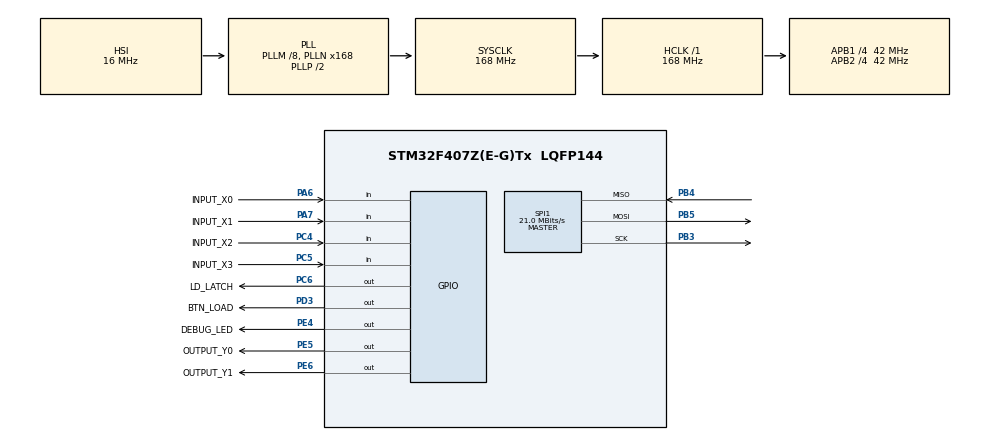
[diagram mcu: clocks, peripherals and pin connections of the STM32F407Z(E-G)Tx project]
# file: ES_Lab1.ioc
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Mcu.Family=STM32F4
Mcu.Name=STM32F407Z(E-G)Tx
Mcu.Package=LQFP144
NVIC.PriorityGroup=NVIC_PRIORITYGROUP_4
NVIC.TIM2_IRQn=true\:0\:0\:false\:false\:true\:true\:true\:true
PA13.Mode=Serial_Wire
PA13.Signal=SYS_JTMS-SWDIO
PA14.Mode=Serial_Wire
PA14.Signal=SYS_JTCK-SWCLK
PA6.GPIO_Label=INPUT_X0
PA6.Signal=GPIO_Input
PA7.GPIO_Label=INPUT_X1
PA7.Signal=GPIO_Input
PB3.Mode=Full_Duplex_Master
PB3.Signal=SPI1_SCK
PB4.Mode=Full_Duplex_Master
PB4.Signal=SPI1_MISO
PB5.Mode=Full_Duplex_Master
PB5.Signal=SPI1_MOSI
PC4.GPIO_Label=INPUT_X2
PC4.Signal=GPIO_Input
PC5.GPIO_Label=INPUT_X3
PC5.Signal=GPIO_Input
PC6.GPIO_Label=LD_LATCH
PC6.Signal=GPIO_Output
PD3.GPIO_Label=BTN_LOAD
PD3.Signal=GPIO_Output
PE4.GPIO_Label=DEBUG_LED
PE4.Signal=GPIO_Output
PE5.GPIO_Label=OUTPUT_Y0
PE5.Signal=GPIO_Output
PE6.GPIO_Label=OUTPUT_Y1
PE6.Signal=GPIO_Output
PH0-OSC_IN.Mode=HSE-External-Oscillator
PH0-OSC_IN.Signal=RCC_OSC_IN
PH1-OSC_OUT.Mode=HSE-External-Oscillator
PH1-OSC_OUT.Signal=RCC_OSC_OUT
ProjectManager.HeapSize=0x200
ProjectManager.StackSize=0x400
ProjectManager.TargetToolchain=STM32CubeIDE
RCC.48MHZClocksFreq_Value=84000000
RCC.AHBFreq_Value=168000000
RCC.APB1CLKDivider=RCC_HCLK_DIV4
RCC.APB1Freq_Value=42000000
RCC.APB1TimFreq_Value=84000000
RCC.APB2CLKDivider=RCC_HCLK_DIV4
RCC.APB2Freq_Value=42000000
RCC.APB2TimFreq_Value=84000000
RCC.CortexFreq_Value=168000000
RCC.HCLKFreq_Value=168000000
RCC.HSE_VALUE=8000000
RCC.HSI_VALUE=16000000
RCC.LSE_VALUE=32768
RCC.PLLM=8
RCC.PLLN=168
RCC.SYSCLKFreq_VALUE=168000000
RCC.SYSCLKSource=RCC_SYSCLKSOURCE_PLLCLK
RCC.VCOOutputFreq_Value=336000000
SPI1.CalculateBaudRate=21.0 MBits/s
SPI1.Direction=SPI_DIRECTION_2LINES
SPI1.Mode=SPI_MODE_MASTER
SPI1.VirtualType=VM_MASTER
TIM2.Period=100-1
TIM2.Prescaler=840-1
VP_TIM2_VS_ClockSourceINT.Mode=Internal
board=custom

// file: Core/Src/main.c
/* USER CODE BEGIN Header */
/**
  ******************************************************************************
  * @file           : main.c
  * @brief          : Main program body
  ******************************************************************************
  * @attention
  *
  * Copyright (c) 2023 STMicroelectronics.
  * All rights reserved.
  *
  * This software is licensed under terms that can be found in the LICENSE file
  * in the root directory of this software component.
  * If no LICENSE file comes with this software, it is provided AS-IS.
  *
  ******************************************************************************
  */
/* USER CODE END Header */
#include "main.h"

SPI_HandleTypeDef hspi1;

TIM_HandleTypeDef htim2;

void SystemClock_Config(void);
static void MX_GPIO_Init(void);
static void MX_SPI1_Init(void);
static void MX_TIM2_Init(void);

int main(void)
{

  /* MCU Configuration--------------------------------------------------------*/

  /* Reset of all peripherals, Initializes the Flash interface and the Systick. */
  HAL_Init();

  /* Configure the system clock */
  SystemClock_Config();

  /* Initialize all configured peripherals */
  MX_GPIO_Init();
  MX_SPI1_Init();
  MX_TIM2_Init();

  /* Infinite loop */
  /* USER CODE BEGIN WHILE */
#define ON	1
#define OFF 0
#define RED 5
#define GREEN 5+3
#define YELLOW 5+3+1
  int counter = 0;
  void display(int status){
	 int displayBuffer[3] = {OFF,OFF,OFF};
	 if(status == RED) displayBuffer[0] = ON;
	 else if(status == GREEN) displayBuffer[1] = ON;
	 else if(status == YELLOW) displayBuffer[2] = ON;
	 HAL_GPIO_WritePin(DEBUG_LED_GPIO_Port, DEBUG_LED_Pin, displayBuffer[0]);
	 HAL_GPIO_WritePin(OUTPUT_Y0_GPIO_Port, OUTPUT_Y0_Pin, displayBuffer[1]);
	 HAL_GPIO_WritePin(OUTPUT_Y1_GPIO_Port, OUTPUT_Y1_Pin, displayBuffer[2]);

  }
  while (1)
  {

	  if(counter == 0) display(RED);
	  if(counter == RED) display(GREEN);
	  if(counter == GREEN) display(YELLOW);
	  counter++;
	  if (counter >= YELLOW)counter = 0;
	  HAL_Delay(1000);
    /* USER CODE END WHILE */

  }
}

void SystemClock_Config(void)
{
  RCC_OscInitTypeDef RCC_OscInitStruct = {0};
  RCC_ClkInitTypeDef RCC_ClkInitStruct = {0};

  /** Configure the main internal regulator output voltage
  */
  __HAL_RCC_PWR_CLK_ENABLE();
  __HAL_PWR_VOLTAGESCALING_CONFIG(PWR_REGULATOR_VOLTAGE_SCALE1);

  /** Initializes the RCC Oscillators according to the specified parameters
  * in the RCC_OscInitTypeDef structure.
  */
  RCC_OscInitStruct.OscillatorType = RCC_OSCILLATORTYPE_HSI;
  RCC_OscInitStruct.HSIState = RCC_HSI_ON;
  RCC_OscInitStruct.HSICalibrationValue = RCC_HSICALIBRATION_DEFAULT;
  RCC_OscInitStruct.PLL.PLLState = RCC_PLL_ON;
  RCC_OscInitStruct.PLL.PLLSource = RCC_PLLSOURCE_HSI;
  RCC_OscInitStruct.PLL.PLLM = 8;
  RCC_OscInitStruct.PLL.PLLN = 168;
  RCC_OscInitStruct.PLL.PLLP = RCC_PLLP_DIV2;
  RCC_OscInitStruct.PLL.PLLQ = 4;
  if (HAL_RCC_OscConfig(&RCC_OscInitStruct) != HAL_OK)
  {
    Error_Handler();
  }

  /** Initializes the CPU, AHB and APB buses clocks
  */
  RCC_ClkInitStruct.ClockType = RCC_CLOCKTYPE_HCLK|RCC_CLOCKTYPE_SYSCLK
                              |RCC_CLOCKTYPE_PCLK1|RCC_CLOCKTYPE_PCLK2;
  RCC_ClkInitStruct.SYSCLKSource = RCC_SYSCLKSOURCE_PLLCLK;
  RCC_ClkInitStruct.AHBCLKDivider = RCC_SYSCLK_DIV1;
  RCC_ClkInitStruct.APB1CLKDivider = RCC_HCLK_DIV4;
  RCC_ClkInitStruct.APB2CLKDivider = RCC_HCLK_DIV4;

  if (HAL_RCC_ClockConfig(&RCC_ClkInitStruct, FLASH_LATENCY_5) != HAL_OK)
  {
    Error_Handler();
  }
}

static void MX_SPI1_Init(void)
{

  /* SPI1 parameter configuration*/
  hspi1.Instance = SPI1;
  hspi1.Init.Mode = SPI_MODE_MASTER;
  hspi1.Init.Direction = SPI_DIRECTION_2LINES;
  hspi1.Init.DataSize = SPI_DATASIZE_8BIT;
  hspi1.Init.CLKPolarity = SPI_POLARITY_LOW;
  hspi1.Init.CLKPhase = SPI_PHASE_1EDGE;
  hspi1.Init.NSS = SPI_NSS_SOFT;
  hspi1.Init.BaudRatePrescaler = SPI_BAUDRATEPRESCALER_2;
  hspi1.Init.FirstBit = SPI_FIRSTBIT_MSB;
  hspi1.Init.TIMode = SPI_TIMODE_DISABLE;
  hspi1.Init.CRCCalculation = SPI_CRCCALCULATION_DISABLE;
  hspi1.Init.CRCPolynomial = 10;
  if (HAL_SPI_Init(&hspi1) != HAL_OK)
  {
    Error_Handler();
  }

}

static void MX_TIM2_Init(void)
{

  TIM_ClockConfigTypeDef sClockSourceConfig = {0};
  TIM_MasterConfigTypeDef sMasterConfig = {0};

  htim2.Instance = TIM2;
  htim2.Init.Prescaler = 840-1;
  htim2.Init.CounterMode = TIM_COUNTERMODE_UP;
  htim2.Init.Period = 100-1;
  htim2.Init.ClockDivision = TIM_CLOCKDIVISION_DIV1;
  htim2.Init.AutoReloadPreload = TIM_AUTORELOAD_PRELOAD_DISABLE;
  if (HAL_TIM_Base_Init(&htim2) != HAL_OK)
  {
    Error_Handler();
  }
  sClockSourceConfig.ClockSource = TIM_CLOCKSOURCE_INTERNAL;
  if (HAL_TIM_ConfigClockSource(&htim2, &sClockSourceConfig) != HAL_OK)
  {
    Error_Handler();
  }
  sMasterConfig.MasterOutputTrigger = TIM_TRGO_RESET;
  sMasterConfig.MasterSlaveMode = TIM_MASTERSLAVEMODE_DISABLE;
  if (HAL_TIMEx_MasterConfigSynchronization(&htim2, &sMasterConfig) != HAL_OK)
  {
    Error_Handler();
  }

}

static void MX_GPIO_Init(void)
{
  GPIO_InitTypeDef GPIO_InitStruct = {0};

  /* GPIO Ports Clock Enable */
  __HAL_RCC_GPIOE_CLK_ENABLE();
  __HAL_RCC_GPIOH_CLK_ENABLE();
  __HAL_RCC_GPIOA_CLK_ENABLE();
  __HAL_RCC_GPIOC_CLK_ENABLE();
  __HAL_RCC_GPIOD_CLK_ENABLE();
  __HAL_RCC_GPIOB_CLK_ENABLE();

  /*Configure GPIO pin Output Level */
  HAL_GPIO_WritePin(GPIOE, DEBUG_LED_Pin|OUTPUT_Y0_Pin|OUTPUT_Y1_Pin, GPIO_PIN_RESET);

  /*Configure GPIO pin Output Level */
  HAL_GPIO_WritePin(LD_LATCH_GPIO_Port, LD_LATCH_Pin, GPIO_PIN_RESET);

  /*Configure GPIO pin Output Level */
  HAL_GPIO_WritePin(BTN_LOAD_GPIO_Port, BTN_LOAD_Pin, GPIO_PIN_RESET);

  /*Configure GPIO pins : DEBUG_LED_Pin OUTPUT_Y0_Pin OUTPUT_Y1_Pin */
  GPIO_InitStruct.Pin = DEBUG_LED_Pin|OUTPUT_Y0_Pin|OUTPUT_Y1_Pin;
  GPIO_InitStruct.Mode = GPIO_MODE_OUTPUT_PP;
  GPIO_InitStruct.Pull = GPIO_NOPULL;
  GPIO_InitStruct.Speed = GPIO_SPEED_FREQ_LOW;
  HAL_GPIO_Init(GPIOE, &GPIO_InitStruct);

  /*Configure GPIO pins : INPUT_X0_Pin INPUT_X1_Pin */
  GPIO_InitStruct.Pin = INPUT_X0_Pin|INPUT_X1_Pin;
  GPIO_InitStruct.Mode = GPIO_MODE_INPUT;
  GPIO_InitStruct.Pull = GPIO_NOPULL;
  HAL_GPIO_Init(GPIOA, &GPIO_InitStruct);

  /*Configure GPIO pins : INPUT_X2_Pin INPUT_X3_Pin */
  GPIO_InitStruct.Pin = INPUT_X2_Pin|INPUT_X3_Pin;
  GPIO_InitStruct.Mode = GPIO_MODE_INPUT;
  GPIO_InitStruct.Pull = GPIO_NOPULL;
  HAL_GPIO_Init(GPIOC, &GPIO_InitStruct);

  /*Configure GPIO pin : LD_LATCH_Pin */
  GPIO_InitStruct.Pin = LD_LATCH_Pin;
  GPIO_InitStruct.Mode = GPIO_MODE_OUTPUT_PP;
  GPIO_InitStruct.Pull = GPIO_NOPULL;
  GPIO_InitStruct.Speed = GPIO_SPEED_FREQ_LOW;
  HAL_GPIO_Init(LD_LATCH_GPIO_Port, &GPIO_InitStruct);

  /*Configure GPIO pin : BTN_LOAD_Pin */
  GPIO_InitStruct.Pin = BTN_LOAD_Pin;
  GPIO_InitStruct.Mode = GPIO_MODE_OUTPUT_PP;
  GPIO_InitStruct.Pull = GPIO_NOPULL;
  GPIO_InitStruct.Speed = GPIO_SPEED_FREQ_LOW;
  HAL_GPIO_Init(BTN_LOAD_GPIO_Port, &GPIO_InitStruct);

}

void Error_Handler(void)
{
  __disable_irq();
  while (1)
  {
  }
}
